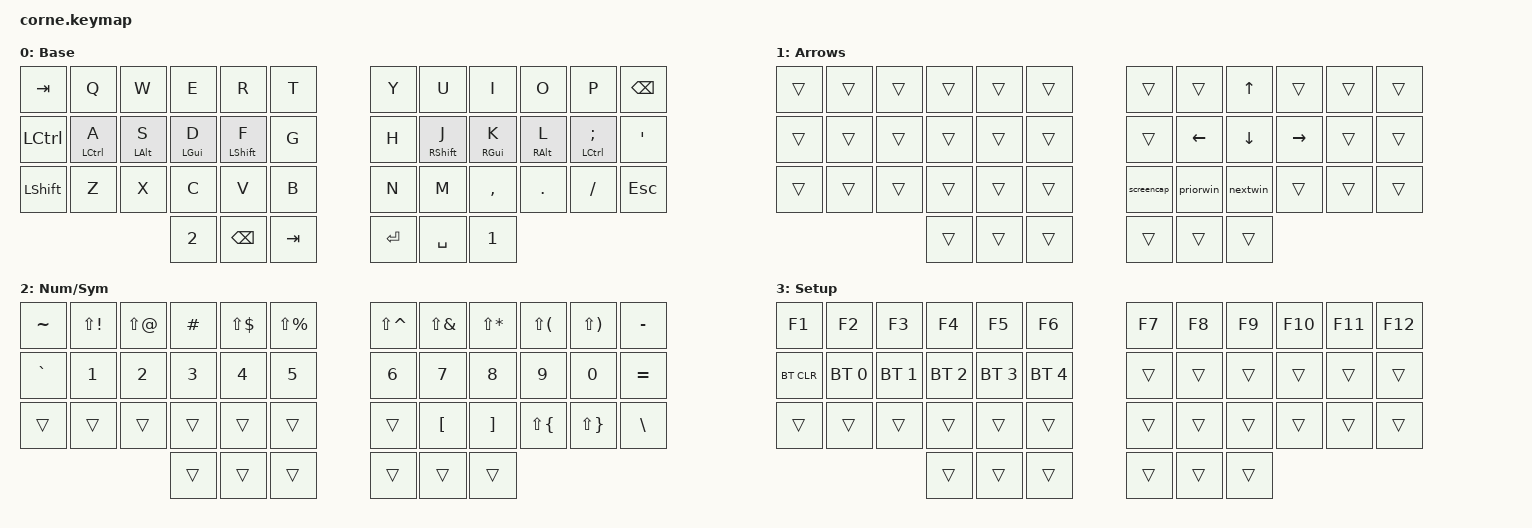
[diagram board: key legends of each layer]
/*
 * Copyright (c) 2020 The ZMK Contributors
 *
 * SPDX-License-Identifier: MIT
 */

#include <behaviors.dtsi>
#include <dt-bindings/zmk/bt.h>
#include <dt-bindings/zmk/keys.h>

/ {
    macros {
        screencap: screencap {
            compatible = "zmk,behavior-macro";
            #binding-cells = <0>;
            bindings = <&kp LS(LC(LG(NUMBER_4)))>;
            label = "SCREENCAP";
        };

        nextwin: nextwin {
            compatible = "zmk,behavior-macro";
            #binding-cells = <0>;
            bindings = <&kp LG(GRAVE)>;
            label = "NEXTWIN";
        };

        priorwin: priorwin {
            compatible = "zmk,behavior-macro";
            #binding-cells = <0>;
            bindings = <&kp LS(LG(GRAVE))>;
            label = "PRIORWIN";
        };
    };

    keymap {
        compatible = "zmk,keymap";

        default_layer {
            display-name = "Base";
            bindings = <
&kp TAB    &kp Q        &kp W           &kp E           &kp R             &kp T      &kp Y    &kp U              &kp I            &kp O            &kp P           &kp BSPC
&kp LCTRL  &mt LCTRL A  &mt LEFT_ALT S  &mt LEFT_GUI D  &mt LEFT_SHIFT F  &kp G      &kp H    &mt RIGHT_SHIFT J  &mt RIGHT_GUI K  &mt RIGHT_ALT L  &mt LCTRL SEMI  &kp SQT
&kp LSHFT  &kp Z        &kp X           &kp C           &kp V             &kp B      &kp N    &kp M              &kp COMMA        &kp DOT          &kp FSLH        &kp ESC
                                        &kp NUMBER_2    &kp BSPC          &kp TAB    &kp RET  &kp SPACE          &kp NUMBER_1
            >;
        };

        Arrows {
            display-name = "Arrows";
            bindings = <
&trans  &trans  &trans  &trans  &trans  &trans    &trans      &trans     &kp UP_ARROW  &trans     &trans  &trans
&trans  &trans  &trans  &trans  &trans  &trans    &trans      &kp LEFT   &kp DOWN      &kp RIGHT  &trans  &trans
&trans  &trans  &trans  &trans  &trans  &trans    &screencap  &priorwin  &nextwin      &trans     &trans  &trans
                        &trans  &trans  &trans    &trans      &trans     &trans
            >;
        };

        num_sym {
            // -----------------------------------------------------------------------------------------
            // |  TAB |  1  |  2  |  3  |  4  |  5  |   |  6  |  7  |  8  |  9  |  0  | BKSP |
            // | BTCLR| BT1 | BT2 | BT3 | BT4 | BT5 |   | LFT | DWN |  UP | RGT |     |      |
            // | SHFT |     |     |     |     |     |   |     |     |     |     |     |      |
            //                    | GUI |     | SPC |   | ENT |     | ALT |

            display-name = "Num/Sym";
            bindings = <
&kp TILDE  &kp LS(EXCL)  &kp LS(AT)  &kp HASH  &kp LS(DLLR)  &kp LS(PRCNT)    &kp LS(CARET)  &kp LS(AMPS)  &kp LS(STAR)  &kp LS(LPAR)  &kp LS(RPAR)  &kp MINUS
&kp GRAVE  &kp N1        &kp N2      &kp N3    &kp N4        &kp N5           &kp N6         &kp N7        &kp N8        &kp N9        &kp N0        &kp EQUAL
&trans     &trans        &trans      &trans    &trans        &trans           &trans         &kp LBKT      &kp RBKT      &kp LS(LBRC)  &kp LS(RBRC)  &kp BSLH
                                     &trans    &trans        &trans           &trans         &trans        &trans
            >;
        };

        setup {
            display-name = "Setup";
            bindings = <
&kp F1      &kp F2        &kp F3        &kp F4        &kp F5        &kp F6          &kp F7  &kp F8  &kp F9  &kp F10  &kp F11  &kp F12
&bt BT_CLR  &bt BT_SEL 0  &bt BT_SEL 1  &bt BT_SEL 2  &bt BT_SEL 3  &bt BT_SEL 4    &trans  &trans  &trans  &trans   &trans   &trans
&trans      &trans        &trans        &trans        &trans        &trans          &trans  &trans  &trans  &trans   &trans   &trans
                                        &trans        &trans        &trans          &trans  &trans  &trans
            >;
        };
    };

    conditional_layers {
        compatible = "zmk,conditional-layers";

        awrup {
            if-layers = <1 2>;
            then-layer = <3>;
        };
    };
};
